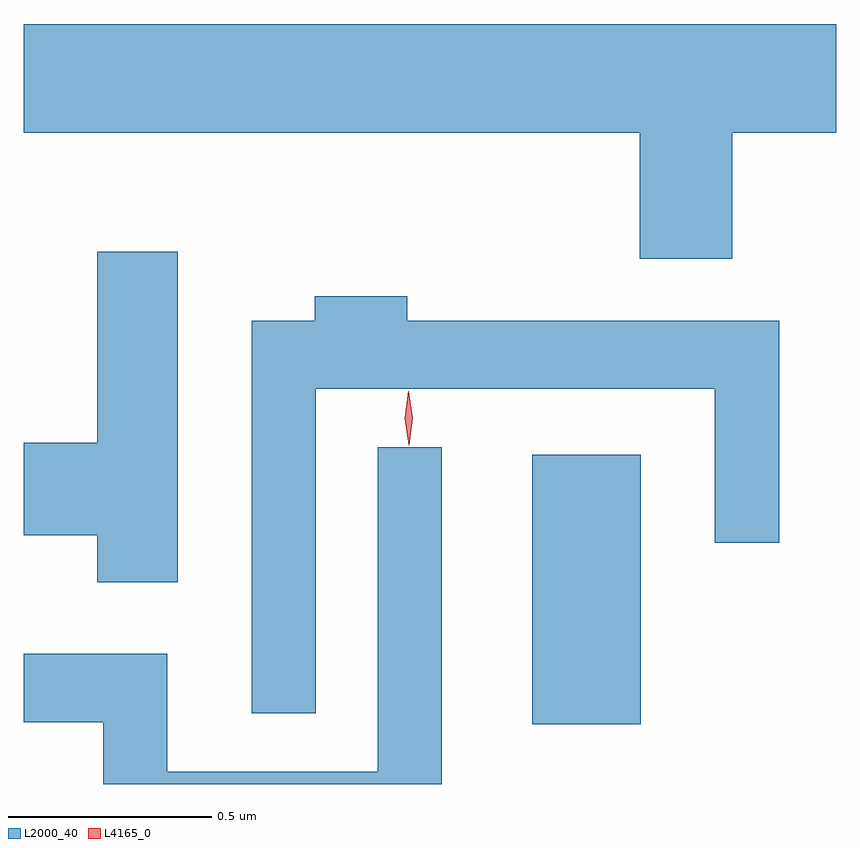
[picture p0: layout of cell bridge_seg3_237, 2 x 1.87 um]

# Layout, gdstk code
import gdstk
lib = gdstk.Library(unit=1e-6, precision=1e-09)
def R(c, l, rs):  # rectangles x0, y0, x1, y1
    for r in rs: c.add(gdstk.rectangle(r[:2], r[2:], *l))
def P(c, l, *ps):  # polygons
    for p in ps: c.add(gdstk.Polygon(p, *l))
L2000_40 = (2000, 40)
L4165_0 = (4165, 0)

bridge_seg3_237 = lib.new_cell('bridge_seg3_237')
R(bridge_seg3_237, L2000_40, [(978.936,1124.561,979.204,1125.224)])
P(bridge_seg3_237, L2000_40, [(979.429,1126.016),(979.685,1126.016),(979.685,1126.284),(977.685,1126.284),(977.685,1126.016),(979.201,1126.016),(979.201,1125.706),(979.429,1125.706)],
  [(978.064,1125.724),(977.866,1125.724),(977.866,1125.254),(977.685,1125.254),(977.685,1125.026),(977.866,1125.026),(977.866,1124.911),(978.064,1124.911)],
  [(978.404,1125.386),(979.386,1125.386),(979.386,1125.008),(979.544,1125.008),(979.544,1125.554),(978.629,1125.554),(978.629,1125.614),(978.401,1125.614),(978.401,1125.554),(978.246,1125.554),(978.246,1124.588),(978.404,1124.588)],
  [(978.714,1125.243),(978.556,1125.243),(978.556,1124.444),(978.039,1124.444),(978.039,1124.734),(977.685,1124.734),(977.685,1124.566),(977.881,1124.566),(977.881,1124.414),(978.714,1124.414)])
P(bridge_seg3_237, L4165_0, [(978.633,1125.247),(978.633,1125.247),(978.623,1125.314),(978.632,1125.38),(978.633,1125.38),(978.633,1125.38),(978.643,1125.314),(978.634,1125.247)])

lib.write_gds('bridge_seg3_237.gds')
